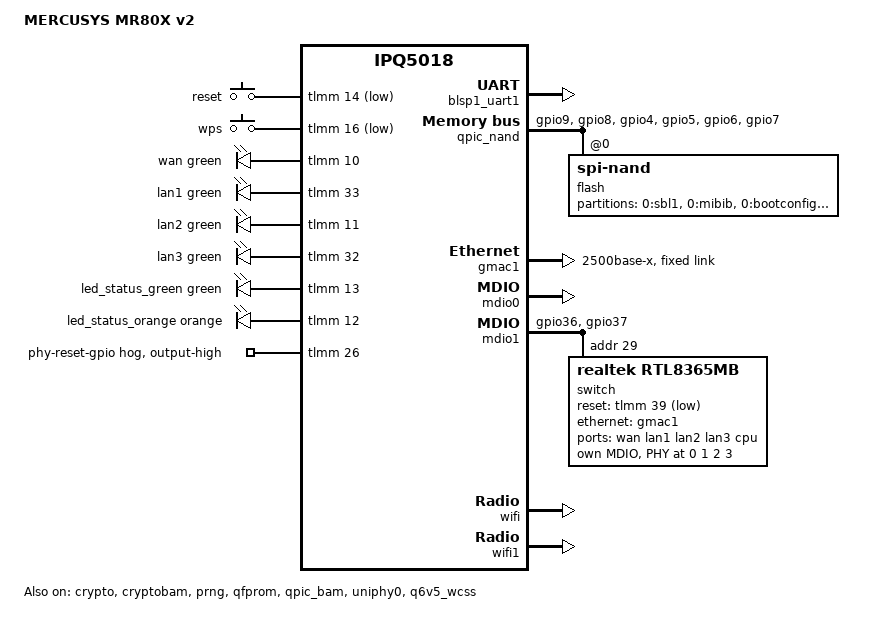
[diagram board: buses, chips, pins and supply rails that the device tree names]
// SPDX-License-Identifier: GPL-2.0-or-later OR MIT
// Device: MERCUSYS MR80X v2
// SoC: Qualcomm IPQ5018 (IPQ0509)
// Switch: Realtek RTL8367S
// WLAN: IPQ5018 (2.4GHz) + QCN6122 (5GHz)
// Flash: 128MB SD-NAND
// RAM: 256MB

/dts-v1/;

#include "ipq5018.dtsi"
#include "ipq5018-ess.dtsi"
#include "ipq5018-qcn6122.dtsi"

#include <dt-bindings/gpio/gpio.h>
#include <dt-bindings/input/input.h>
#include <dt-bindings/leds/common.h>

/ {
	model = "MERCUSYS MR80X v2";
	compatible = "mercusys,mr80x-v2", "qcom,ipq5018";

	aliases {
		serial0 = &blsp1_uart1;
		/*
		 * 0:art itself carries no usable MAC (bytes read 0xff, U-Boot
		 * reports "MAC Address from ART is not valid"). The real address is
		 * six raw bytes at a fixed offset in the tp_data partition -
		 * confirmed on real v2 hardware to be a flat blob at the same
		 * layout as v5's, read directly via macaddr_tp_data_2d5030 below,
		 * same as v5.
		 */
		label-mac-device = &lan1_port;

		led-boot = &led_status_green;
		led-failsafe = &led_status_orange;
		led-running = &led_status_green;
		led-upgrade = &led_status_green;
	};

	chosen {
		bootargs-append = " root=/dev/ubiblock0_1 coherent_pool=2M";
		stdout-path = "serial0:115200n8";
	};

	keys {
		compatible = "gpio-keys";
		pinctrl-0 = <&button_pins>;
		pinctrl-names = "default";

		reset {
			label = "reset";
			gpios = <&tlmm 14 GPIO_ACTIVE_LOW>;
			linux,code = <KEY_RESTART>;
		};

		wps {
			label = "wps";
			gpios = <&tlmm 16 GPIO_ACTIVE_LOW>;
			linux,code = <KEY_WPS_BUTTON>;
		};
	};

	leds {
		compatible = "gpio-leds";
		pinctrl-0 = <&led_pins>;
		pinctrl-names = "default";

		/* GPL product config for MR3000Xv2 lists ALL_LED=10,33,11,32,13,12,
		 * i.e. wan, lan1, lan2, lan3, sys_green, sys_orange - which is exactly
		 * the mapping the working yanko-yankulov fork uses. An earlier revision
		 * of this file had gpio32/33 as WiFi LEDs; that was wrong. */

		wan {
			gpios = <&tlmm 10 GPIO_ACTIVE_HIGH>;
			color = <LED_COLOR_ID_GREEN>;
			function = LED_FUNCTION_WAN;
		};

		lan1 {
			gpios = <&tlmm 33 GPIO_ACTIVE_HIGH>;
			color = <LED_COLOR_ID_GREEN>;
			function = LED_FUNCTION_LAN;
			function-enumerator = <1>;
		};

		lan2 {
			gpios = <&tlmm 11 GPIO_ACTIVE_HIGH>;
			color = <LED_COLOR_ID_GREEN>;
			function = LED_FUNCTION_LAN;
			function-enumerator = <2>;
		};

		lan3 {
			gpios = <&tlmm 32 GPIO_ACTIVE_HIGH>;
			color = <LED_COLOR_ID_GREEN>;
			function = LED_FUNCTION_LAN;
			function-enumerator = <3>;
		};

		led_status_green: status-green {
			gpios = <&tlmm 13 GPIO_ACTIVE_HIGH>;
			color = <LED_COLOR_ID_GREEN>;
			function = LED_FUNCTION_STATUS;
			default-state = "on";
		};

		led_status_orange: status-orange {
			gpios = <&tlmm 12 GPIO_ACTIVE_HIGH>;
			color = <LED_COLOR_ID_ORANGE>;
			function = LED_FUNCTION_STATUS;
		};
	};
};

&sleep_clk {
	clock-frequency = <32000>;
};

&xo_board_clk {
	clock-div = <4>;
	clock-mult = <1>;
};

&blsp1_uart1 {
	status = "okay";

	/* Deliberately no pinctrl. Re-muxing gpio20/21 here kills console RX:
	 * TX keeps working because printk busy-polls, but not a single RX
	 * interrupt arrives. Verified on hardware - dropping pinctrl restores
	 * input immediately. U-Boot already sets these pins up correctly, and
	 * the working yanko-yankulov fork also omits pinctrl here. */
};

&crypto {
	status = "okay";
};

&cryptobam {
	status = "okay";
};

&prng {
	status = "okay";
};

&qfprom {
	status = "okay";
};

&qpic_bam {
	status = "okay";
};

&qpic_nand {
	pinctrl-0 = <&qpic_pins>;
	pinctrl-names = "default";
	status = "okay";

	flash@0 {
		compatible = "spi-nand";
		reg = <0>;
		nand-ecc-engine = <&qpic_nand>;
		nand-ecc-strength = <4>;	/* F50D1G41LB is a 4-bit ECC part - U-Boot prints
					 * "ECC:4-bit". Decoding with <8> returns data that
					 * looks clean but has silently flipped bits, which
					 * corrupts caldata read from 0:art and the raw MAC
					 * bytes read from tp_data. */
		nand-ecc-step-size = <512>;
		nand-bus-width = <8>;

		/*
		 * Static table instead of qcom,smem-part. v2 and v5 are the same
		 * underlying hardware (SoC, switch, flash, RF front-end) - confirmed
		 * against four independent sources: an OEM stock-firmware boot log
		 * (partition table matches byte-for-byte through 0:training), the
		 * RSA-2048 signing key embedded in Mercusys's own published v2 GPL
		 * source, the LED GPIO mapping in that same source's uboot_config.mk,
		 * and the WiFi RF calibration blob already shipped in this repo
		 * (99.9% byte-identical to v5's, only the variant label and a
		 * handful of gain-trim bytes differ). See this project's
		 * openwrt-build-tools ai-memory,
		 * mr80x-v2-v5-same-hardware-evidence-20260814.md, for the detail.
		 *
		 * The OEM firmware itself keeps a dual "rootfs"/"rootfs_1" pair
		 * spanning the same byte range this collapses into one - that is
		 * a vendor failsafe scheme, not something OpenWrt's own
		 * UBI-managed single rootfs needs to replicate. Matches v5's own
		 * layout choice exactly. lib/upgrade/platform.sh's MIBIB-rewrite
		 * path (shared with v5, see mercusys_mr80x_initramfs_prepare())
		 * performs that one-time collapse from a booted initramfs image.
		 *
		 * NOT YET VALIDATED ON REAL v2 HARDWARE. qcom-mibib's own profile
		 * check refuses to touch anything if the physical MIBIB doesn't
		 * match this exact byte pattern, so a wrong assumption here fails
		 * safe (migration refused) rather than corrupting the device -
		 * but a first real v2 unit should still confirm this before it's
		 * treated as unconditionally trustworthy.
		 */
		partitions {
			compatible = "fixed-partitions";
			#address-cells = <1>;
			#size-cells = <1>;

			partition@0 {
				label = "0:sbl1";
				reg = <0x00000000 0x00080000>;
				read-only;
			};

			partition@80000 {
				label = "0:mibib";
				reg = <0x00080000 0x00080000>;
			};

			partition@100000 {
				label = "0:bootconfig";
				reg = <0x00100000 0x00040000>;
				read-only;
			};

			partition@140000 {
				label = "0:bootconfig1";
				reg = <0x00140000 0x00040000>;
				read-only;
			};

			partition@180000 {
				label = "0:qsee";
				reg = <0x00180000 0x00100000>;
				read-only;
			};

			partition@280000 {
				label = "0:devcfg";
				reg = <0x00280000 0x00040000>;
				read-only;
			};

			partition@2c0000 {
				label = "0:cdt";
				reg = <0x002c0000 0x00040000>;
				read-only;
			};

			partition@300000 {
				compatible = "u-boot,env";
				label = "0:appsblenv";
				reg = <0x00300000 0x00080000>;
				env-size = <0x40000>;
			};

			partition@380000 {
				label = "0:appsbl";
				reg = <0x00380000 0x00140000>;
				read-only;
			};

			partition@4c0000 {
				label = "0:art";
				reg = <0x004c0000 0x00100000>;
				read-only;

				/*
				 * 0:art holds no usable MAC (bytes read 0xff, U-Boot
				 * itself reports "MAC Address from ART is not valid") -
				 * that comes from tp_data instead, via macaddr_tp_data_2d5030
				 * below. The ath11k calibration blobs at these offsets
				 * are real and read directly via &wifi/&wifi1's
				 * nvmem-cells, same as v5 - no hotplug.d script needed.
				 */
				nvmem-layout {
					compatible = "fixed-layout";
					#address-cells = <1>;
					#size-cells = <1>;

					cal_art_1000: calibration@1000 {
						reg = <0x1000 0x20000>;
						#nvmem-cell-cells = <0>;
					};

					cal_art_26800: calibration@26800 {
						reg = <0x26800 0x20000>;
						#nvmem-cell-cells = <0>;
					};
				};
			};

			partition@5c0000 {
				label = "0:training";
				reg = <0x005c0000 0x00080000>;
				read-only;
			};

			partition@640000 {
				label = "rootfs";
				reg = <0x00640000 0x05400000>;
			};

			partition@5a40000 {
				/* Label kept as "tp_data" (underscore) rather than
				 * renamed to match v5's "tp-data" - purely a leftover
				 * naming difference from when this board's DTS was
				 * first ported, no functional effect either way now
				 * that nothing does a userspace MTD lookup by this
				 * string (see git history for the preinit/hotplug.d
				 * scripts this partition used to need before its
				 * layout was confirmed identical to v5's).
				 */
				label = "tp_data";
				reg = <0x05a40000 0x00840000>;
				read-only;

				/*
				 * Confirmed on real v2 hardware: this partition is a
				 * flat blob at the same layout as v5's, not UBIFS -
				 * the nvmem-layout/macaddr_tp_data_2d5030 cell below
				 * (byte-for-byte identical to v5's) reads the real MAC
				 * directly, same as v5, wired into gmac1/wifi/wifi1
				 * below exactly like v5.
				 */
				nvmem-layout {
					compatible = "fixed-layout";
					#address-cells = <1>;
					#size-cells = <1>;

					macaddr_tp_data_2d5030: macaddr@2d5030 {
						compatible = "mac-base";
						reg = <0x2d5030 0x6>;
						#nvmem-cell-cells = <1>;
					};
				};
			};

			partition@6280000 {
				label = "radio";
				reg = <0x06280000 0x00440000>;
			};

			partition@66c0000 {
				label = "data";
				reg = <0x066c0000 0x00080000>;
			};
		};
	};
};

/*
 * ========================================================================
 *     _______________________         _______________________
 *    |        IPQ5018        |       |       RTL8367S        |
 *    | +------+   +--------+ |       | +--------+   +------+ |
 *    | | MAC0 |---| GE Phy |-+-PHY---+-|  Phy4  |---| P4   | |
 *    | +------+   +--------+ |       | +--------+   +------+ |
 *    | +------+   +--------+ |       | +--------+   +------+ |
 *    | | MAC1 |---| Uniphy |-+-SGMII-+-| SerDes |---| P5   | |
 *    | +------+   +--------+ |       | +--------+   +------+ |
 *    |_______________________|       |_______________________|
 *
 *    RTL8367S Ports: P0=WAN, P1=LAN1, P2=LAN2, P3=LAN3
 *    P4=IPQ GePhy (internal, not exposed as a DSA port), P5=SGMII CPU port
 *
 *    MAC0/GE Phy/P4 exist on this board's silicon but are left disabled
 *    below (status left at the .dtsi default) to mirror v5's DTS exactly,
 *    as requested - v5 doesn't have this second MAC path at all. Unlike
 *    the reset-gpios/UNIPHY-clock values below, disabling an otherwise-idle
 *    MAC that nothing references is low-risk either way.
 * ========================================================================
 */

&uniphy0 {
	status = "okay";

	assigned-clocks = <&uniphy0 UNIPHY_CLK_REF>;
	/*
	 * WARNING: v2's original value here was UNIPHY_REFCLK_25MHZ, not
	 * UNIPHY_REFCLK_50MHZ. Overwritten to match v5's DTS exactly as
	 * requested, but this is a reference-clock rate, which is normally a
	 * physical crystal/oscillator property of the board, not a software
	 * choice - if v2's hardware actually runs a 25MHz reference, this
	 * value is now wrong and SerDes link training may fail or misbehave
	 * until a real v2 unit confirms one way or the other.
	 */
	assigned-clock-rates = <UNIPHY_REFCLK_50MHZ>;
};

/*
 * MAC1 -> SGMII -> RTL8367S Port 5 (CPU port)
 *
 * No local-mac-address anywhere in this file on purpose. 0:art holds no usable
 * factory data, those bytes read 0xff and U-Boot itself reports "MAC Address
 * from ART is not valid". The real address is six raw bytes at a fixed offset
 * in tp_data, read via macaddr_tp_data_2d5030 - confirmed on real hardware to
 * work exactly like v5, no runtime script needed. Hard-coding it here would
 * tie the image to one single unit.
 */
&gmac1 {
	status = "okay";

	phy-mode = "2500base-x";
	nvmem-cell-names = "mac-address";
	nvmem-cells = <&macaddr_tp_data_2d5030 (-1)>;

	fixed-link {
		speed = <2500>;
		full-duplex;
		pause;
	};
};

&mdio0 {
	status = "okay";
};

&mdio1 {
	status = "okay";

	pinctrl-0 = <&mdio1_pins>;
	pinctrl-names = "default";

	/* RTL8367S (chip_ver 0x00A0). Its external interface 1 is on port 6 and
	 * supports both SGMII and HSGMII. U-Boot sets it to HSGMII on every boot
	 * ("Set RTL8367S SGMII 2.5Gbps"), but 3.125 GBaud is not reliable on this
	 * board: measured 4-13 %% packet loss with every MAC counter at zero,
	 * because frames mangled on the SerDes are dropped by the PCS layer before
	 * the MAC sees a frame. Plain 1G SGMII measures 0 %% loss and is plenty -
	 * the radios do ~350 Mbit. Both ends are set below and in &gmac1.
	 *
	 * FIXME: this comment and the fixed-link speed below (and in &gmac1)
	 * disagree - the comment describes a 1G fallback, but both fixed-link
	 * nodes still say 2500. Not touched while restructuring this file to
	 * match v5's layout: needs a real v2 unit to find out which one is
	 * actually correct before either the value or this comment changes.
	 *
	 * The child "realtek,smi-mdio" node is mandatory - without it the driver
	 * finds the chip but aborts with "no MDIO bus node" / -ENODEV. */
	switch@29 {
		compatible = "realtek,rtl8365mb";
		reg = <29>;
		/*
		 * WARNING: this single reset-gpios (moved here from the mdio1 bus
		 * node above, matching v5 exactly as requested) replaces what v2's
		 * original file had verified on real hardware: gpio39 on the mdio1
		 * bus node (matching the OEM DTB's phy-reset-gpio) PLUS a second,
		 * separately toggled reset-gpios = gpio26 here on the switch node
		 * itself - confirmed on hardware to be what actually brings the
		 * switch chip out of reset ("driving gpio26 low then high makes a
		 * previously silent chip answer immediately"; without it MDIO reads
		 * return 0xffff forever on the normal NAND autoboot path). v5 only
		 * ever uses gpio39 for this and statically hogs gpio26 high instead
		 * (see &tlmm's phy_reset_hog below) for an unrelated purpose. If
		 * this single-gpio39 reset doesn't actually bring v2's switch out
		 * of reset the way the dual-gpio scheme was verified to, the switch
		 * will stay silent - this needs a real v2 unit to confirm either
		 * way before it's trusted.
		 */
		reset-gpios = <&tlmm 39 GPIO_ACTIVE_LOW>;

		ports {
			#address-cells = <1>;
			#size-cells = <0>;

			port@0 {
				reg = <0>;
				label = "wan";
				phy-handle = <&rtl8367s_phy0>;
				nvmem-cell-names = "mac-address";
				nvmem-cells = <&macaddr_tp_data_2d5030 1>;
			};

			lan1_port: port@1 {
				reg = <1>;
				label = "lan1";
				phy-handle = <&rtl8367s_phy1>;
				nvmem-cell-names = "mac-address";
				nvmem-cells = <&macaddr_tp_data_2d5030 0>;
			};

			port@2 {
				reg = <2>;
				label = "lan2";
				phy-handle = <&rtl8367s_phy2>;
				nvmem-cell-names = "mac-address";
				nvmem-cells = <&macaddr_tp_data_2d5030 2>;
			};

			port@3 {
				reg = <3>;
				label = "lan3";
				phy-handle = <&rtl8367s_phy3>;
				nvmem-cell-names = "mac-address";
				nvmem-cells = <&macaddr_tp_data_2d5030 3>;
			};

			port@6 {
				reg = <6>;
				label = "cpu";
				ethernet = <&gmac1>;
				phy-mode = "2500base-x";
				qca,sgmii-enable-pll;

				fixed-link {
					speed = <2500>;
					full-duplex;
					pause;
				};
			};
		};

		mdio {
			compatible = "realtek,smi-mdio";
			#address-cells = <1>;
			#size-cells = <0>;

			rtl8367s_phy0: ethernet-phy@0 {
				reg = <0>;
			};

			rtl8367s_phy1: ethernet-phy@1 {
				reg = <1>;
			};

			rtl8367s_phy2: ethernet-phy@2 {
				reg = <2>;
			};

			rtl8367s_phy3: ethernet-phy@3 {
				reg = <3>;
			};
		};
	};
};

&tlmm {
	/*
	 * WARNING: added to mirror v5's DTS exactly, as requested. On v5 this
	 * statically holds gpio26 high for an unrelated purpose, because v5's
	 * switch reset only uses gpio39 (see switch@29 above). v2's original
	 * file drove gpio26 as its own separate, actively-toggled switch reset
	 * line instead (now removed above to match v5's single-gpio39 scheme) -
	 * if that dual-gpio scheme turns out to still be what v2 hardware
	 * actually needs, this static hog would fight a driver trying to
	 * toggle the same pin. Flagging for the same real-hardware check as
	 * switch@29's reset-gpios above.
	 */
	phy_reset_hog: phy-reset-hog {
		gpio-hog;
		gpios = <26 GPIO_ACTIVE_HIGH>;
		output-high;
		line-name = "phy-reset-gpio";
	};

	button_pins: button-state {
		pins = "gpio14", "gpio16";
		function = "gpio";
		drive-strength = <8>;
		bias-pull-up;
	};

	led_pins: led-state {
		pins = "gpio10", "gpio11", "gpio12",
		       "gpio13", "gpio32", "gpio33";
		function = "gpio";
		drive-strength = <8>;
		bias-pull-down;
	};

	mdio1_pins: mdio-state {
		mdc-pins {
			pins = "gpio36";
			function = "mdc";
			drive-strength = <8>;
			bias-pull-up;
		};

		mdio-pins {
			pins = "gpio37";
			function = "mdio";
			drive-strength = <8>;
			bias-pull-up;
		};
	};

	qpic_pins: qpic-state {
		clock-pins {
			pins = "gpio9";
			function = "qspi_clk";
			drive-strength = <8>;
			bias-disable;
		};

		cs-pins {
			pins = "gpio8";
			function = "qspi_cs";
			drive-strength = <8>;
			bias-disable;
		};

		data-pins {
			pins = "gpio4", "gpio5", "gpio6", "gpio7";
			function = "qspi_data";
			drive-strength = <8>;
			bias-disable;
		};
	};
};

/*
 * WARNING: added to mirror v5's DTS exactly, as requested. v2's original
 * file had no override here at all, relying on whatever size the base
 * .dtsi gives the WiFi remoteproc region by default. Untested on real v2
 * hardware - if the default was actually correct for v2, this could shrink
 * or move that region incorrectly.
 */
&q6_region {
	reg = <0x0 0x4b000000 0x0 0x2e00000>;
};

&q6v5_wcss {
	status = "okay";

	/* Exact value from the OEM DTB and the working yanko-yankulov fork:
	 *   <1 4 3 15 0 0>  PCIE0 (pcie@a0000000, PERST gpio15) -> UPD3
	 *   <2 4 2 27 0 0>  PCIE1 (pcie@80000000, PERST gpio27) -> UPD2 [QCN6122] */
	boot-args = <0x1 4 3 15 0 0 0x2 4 2 27 0 0>;
};

&wifi {
	/* IPQ5018 2.4GHz */
	status = "okay";

	qcom,rproc = <&q6_wcss_pd1>;
	qcom,userpd-subsys-name = "q6v5_wcss_userpd1";
	qcom,ath11k-calibration-variant = "Mercusys-MR80X-v5";
	qcom,ath11k-fw-memory-mode = <2>;
	qcom,ath11k-low-memory-datapath;
	qcom,ath11k-calibration-needs-macflag;
	qcom,bdf-addr = <0x4c400000>;
	nvmem-cell-names = "mac-address", "calibration";
	nvmem-cells = <&macaddr_tp_data_2d5030 4>, <&cal_art_1000>;
};

&wifi1 {
	/* QCN6122 5GHz */
	status = "okay";

	qcom,rproc = <&q6_wcss_pd2>;
	qcom,userpd-subsys-name = "q6v5_wcss_userpd2";
	qcom,ath11k-calibration-variant = "Mercusys-MR80X-v5";
	qcom,ath11k-fw-memory-mode = <2>;
	qcom,ath11k-low-memory-datapath;
	qcom,ath11k-calibration-needs-macflag;
	qcom,bdf-addr = <0x4d100000>;
	qcom,m3-dump-addr = <0x4df00000>;
	nvmem-cell-names = "mac-address", "calibration";
	nvmem-cells = <&macaddr_tp_data_2d5030 5>, <&cal_art_26800>;
};
